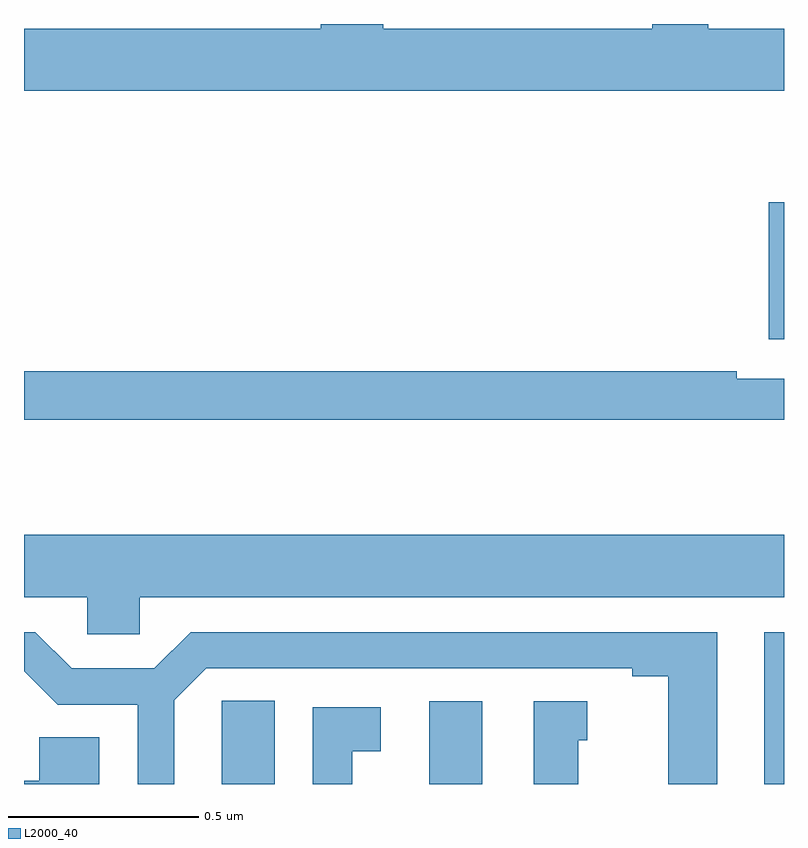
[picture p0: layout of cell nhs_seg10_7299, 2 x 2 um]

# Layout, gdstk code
import gdstk
lib = gdstk.Library(unit=1e-6, precision=1e-09)
def R(c, l, rs):  # rectangles x0, y0, x1, y1
    for r in rs: c.add(gdstk.rectangle(r[:2], r[2:], *l))
def P(c, l, *ps):  # polygons
    for p in ps: c.add(gdstk.Polygon(p, *l))
L2000_40 = (2000, 40)

nhs_seg10_7299 = lib.new_cell('nhs_seg10_7299')
R(nhs_seg10_7299, L2000_40, [(203.066,1290.5,203.206,1290.718), (203.948,1290.5,204,1290.9), (203.96,1291.671,204,1292.031)])
P(nhs_seg10_7299, L2000_40, [(204,1292.488),(203.8,1292.488),(203.8,1292.5),(203.653,1292.5),(203.653,1292.488),(202.946,1292.488),(202.946,1292.5),(202.781,1292.5),(202.781,1292.488),(202,1292.488),(202,1292.324),(204,1292.324)],
  [(204,1291.566),(203.876,1291.566),(203.876,1291.586),(202,1291.586),(202,1291.458),(204,1291.458)],
  [(202.305,1290.992),(204,1290.992),(204,1291.156),(202,1291.156),(202,1290.992),(202.167,1290.992),(202.167,1290.894),(202.305,1290.894)],
  [(202.395,1290.72),(202.479,1290.804),(203.6,1290.804),(203.6,1290.784),(203.696,1290.784),(203.696,1290.5),(203.824,1290.5),(203.824,1290.9),(202.439,1290.9),(202.343,1290.804),(202.125,1290.804),(202.029,1290.9),(202,1290.9),(202,1290.797),(202.089,1290.708),(202.299,1290.708),(202.299,1290.5),(202.395,1290.5)],
  [(202.66,1290.719),(202.521,1290.719),(202.521,1290.611),(202.52,1290.611),(202.52,1290.5),(202.66,1290.5)],
  [(203.458,1290.615),(203.482,1290.615),(203.482,1290.718),(203.342,1290.718),(203.342,1290.5),(203.458,1290.5)],
  [(202.864,1290.586),(202.939,1290.586),(202.939,1290.702),(202.76,1290.702),(202.76,1290.5),(202.864,1290.5)],
  [(202.198,1290.623),(202.04,1290.623),(202.04,1290.508),(202,1290.508),(202,1290.5),(202.198,1290.5)])

lib.write_gds('nhs_seg10_7299.gds')
